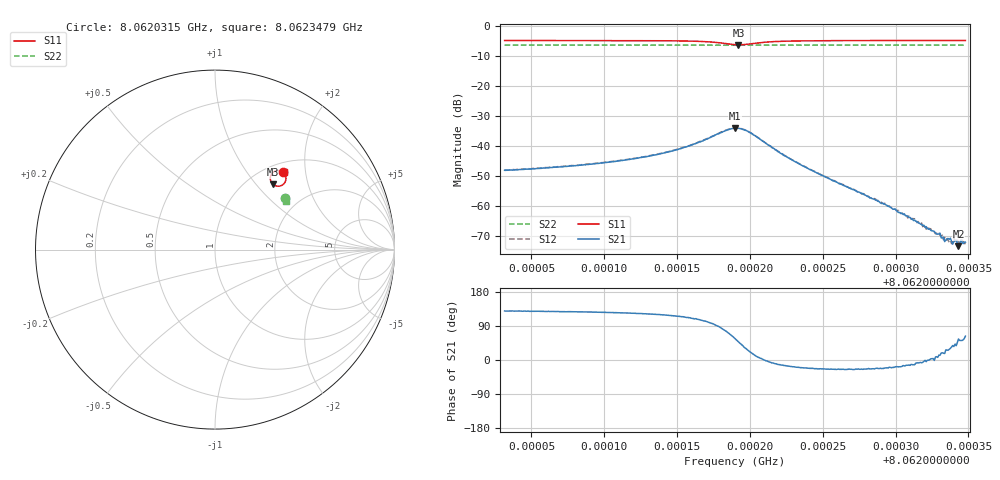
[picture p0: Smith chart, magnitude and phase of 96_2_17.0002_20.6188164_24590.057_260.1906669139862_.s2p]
#  HZ  S  RI  R  50.00
! Rohde & Schwarz Vector Network Analyzer
! Rohde-Schwarz,ZNB20-2Port,1311601062101988,3.16
! Created: UTC 3/20/2024, 10:56:20 PM
! freq[Hz]  re:S11  im:S11  re:S21  im:S21  re:S12  im:S12  re:S22  im:S22
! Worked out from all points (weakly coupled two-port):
!   401 points, 8.0620315 GHz to 8.0623479 GHz, reference 50 ohm
!   highest |S21| = -34.04 dB at 8.0621897 GHz (marker M1); lowest = -73.3 dB at 8.0623431 GHz (marker M2)
!   lowest |S11| = -6.3 dB at 8.0621921 GHz (marker M3), VSWR 2.90, Z = 64.8 + j61.7 ohm
!   |S11| at or under -10 dB: nowhere
!   |S22| runs from -6.4 to -6.3 dB; largest |S21 - S12| = 0.0014
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8.06203154e9  0.3787 0.4333  -0.00251 0.00306  -0.00233 0.00319  0.3873 0.288
8.06208453e9  0.3844 0.4273  -0.0029 0.00386  -0.00271 0.00409  0.3891 0.2852
8.06211458e9  0.3884 0.4216  -0.00331 0.00486  -0.00305 0.00511  0.3902 0.2836
8.06213751e9  0.3923 0.4139  -0.00365 0.00637  -0.00327 0.00669  0.3909 0.2821
8.06215965e9  0.3956 0.398  -0.0036 0.00979  -0.00299 0.01  0.3913 0.2805
8.0621731e9  0.3909 0.3769  -0.00182 0.0139  -0.000844 0.0143  0.3914 0.279
8.06218417e9  0.3631 0.3547  0.00502 0.0178  0.00624 0.0176  0.3902 0.2779
8.06218971e9  0.3355 0.3562  0.011 0.0165  0.0121 0.016  0.389 0.2782
8.06219208e9  0.324 0.363  0.0133 0.0147  0.0143 0.0138  0.3889 0.2786
8.06219999e9  0.3079 0.3998  0.0156 0.00607  0.0161 0.00516  0.389 0.2801
8.06222213e9  0.3426 0.4398  0.00721 -0.00168  0.00711 -0.00219  0.3917 0.2801
8.06224269e9  0.3599 0.4401  0.00362 -0.00149  0.00355 -0.00171  0.3932 0.279
8.06229568e9  0.3757 0.4342  0.000932 -0.000319  0.000933 -0.000368  0.3954 0.2761
8.06231387e9  0.3787 0.4326  0.000553 -8.1e-05  0.000583 -0.000139  0.396 0.2751
8.06232889e9  0.3805 0.4313  0.000339 4.1e-05  0.000327 3.05e-05  0.3964 0.2743
8.06233285e9  0.3809 0.431  0.00029 9.29e-05  0.000268 5.8e-05  0.3967 0.2741
8.06233443e9  0.3811 0.4308  0.000242 0.000121  0.000256 7.41e-05  0.3967 0.274
8.06233759e9  0.3815 0.4306  0.00025 0.00015  0.000238 0.000118  0.3968 0.2738
8.06234075e9  0.3818 0.4303  0.000199 0.00018  0.00021 0.000126  0.397 0.2737
8.06234313e9  0.382 0.4302  0.000122 0.000177  0.000192 0.000164  0.397 0.2735
8.0623455e9  0.3823 0.4301  0.000156 0.000196  0.00017 0.000211  0.3971 0.2734
8.06234787e9  0.3827 0.4298  0.000114 0.000223  0.000115 0.000198  0.3973 0.2732
